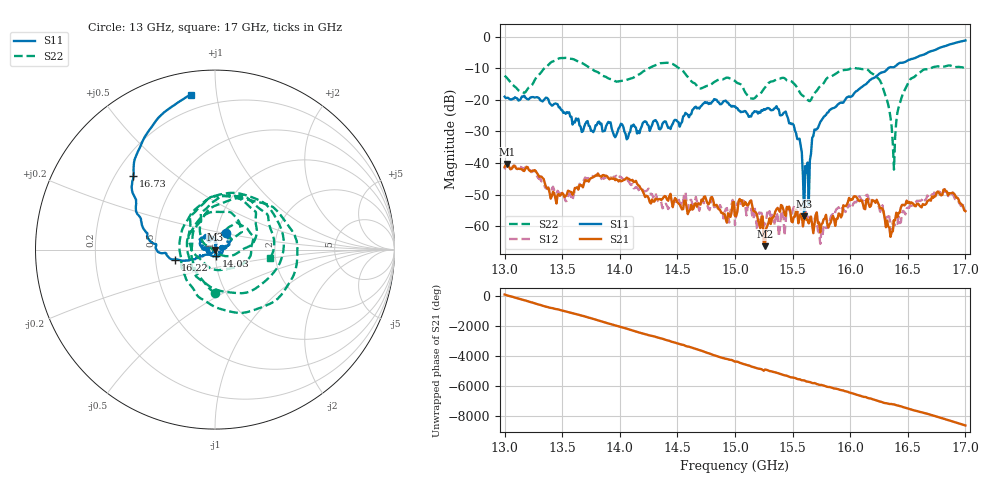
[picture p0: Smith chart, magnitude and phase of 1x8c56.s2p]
!Keysight Technologies,P9374A,MY57211807,A.19.30.04
!Date: Friday, May 08, 2026 15:12:28
!Correction: S11(C  2-Port  )
!S21(C  2-Port  )
!S12(C  2-Port  )
!S22(C  2-Port  )
!S2P File: Measurements: S11, S21, S12, S22:
# Hz S  dB  R 50
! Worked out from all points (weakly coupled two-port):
!   401 points, 13 GHz to 17 GHz, reference 50 ohm
!   highest |S21| = -40.31 dB at 13.02 GHz (marker M1); lowest = -66.4 dB at 15.26 GHz (marker M2)
!   lowest |S11| = -56.9 dB at 15.6 GHz (marker M3), VSWR 1.00, Z = 50.1 - j0.0481 ohm
!   |S11| at or under -10 dB: start of sweep to 16.33 GHz
!   |S22| runs from -42.1 to -6.7 dB; largest |S21 - S12| = 0.0013
!   S11 on the Smith chart (normalised r, x): 13 GHz: 1.11, +0.21; 14.03 GHz: 1.01, -0.08; 16.22 GHz: 0.63, -0.08; 16.73 GHz: 0.27, +0.36; 17 GHz: 0.12, +0.85
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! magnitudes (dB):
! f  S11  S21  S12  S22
! 13 GHz  -19.0  -41.3  -42.0  -12.3
! 13.02 GHz  -19.4  -40.3  -40.5  -13.0
! 13.17 GHz  -18.7  -42.6  -41.6  -17.7
! 13.53 GHz  -24.4  -50.5  -52.1  -6.7
! 13.67 GHz  -30.2  -47.2  -46.5  -8.3
! 14.03 GHz  -28.5  -45.4  -45.3  -13.9
! 14.34 GHz  -29.2  -51.5  -52.3  -8.5
! 15 GHz  -22.0  -56.8  -59.7  -14.0
! 15.13 GHz  -25.2  -52.1  -53.5  -19.5
! 15.26 GHz  -23.2  -66.4  -59.5  -16.1
! 15.5 GHz  -27.5  -58.8  -54.9  -14.4
! 15.6 GHz  -56.9  -57.2  -56.0  -19.0
! 15.62 GHz  -43.2  -58.1  -56.2  -19.6
! 15.67 GHz  -32.0  -59.6  -58.9  -19.2
! 15.74 GHz  -27.1  -62.0  -65.6  -15.7
! 15.92 GHz  -20.8  -57.3  -55.0  -10.7
! 16.22 GHz  -12.8  -52.6  -52.5  -12.4
! 16.34 GHz  -9.8  -60.5  -57.0  -23.3
! 16.38 GHz  -9.7  -58.1  -59.0  -42.1
! 16.5 GHz  -7.6  -52.7  -54.2  -14.9
! 16.73 GHz  -4.3  -50.5  -49.3  -9.5
! 17 GHz  -1.2  -55.3  -55.3  -10.1
